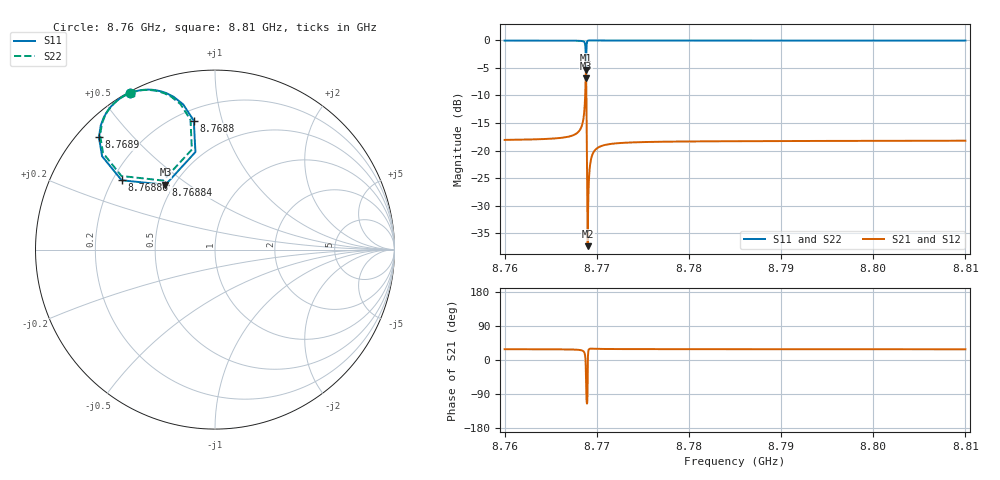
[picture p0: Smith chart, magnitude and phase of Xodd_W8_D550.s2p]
! Sonnet Data File
! From: emgraph Version : 16.52
! From Project: Qubit_Xmon2_brg
! Data is De-embedded
! Data File Written: 10/25/2017 15:28:40
!< HDATE 10/25/2017 13:50:25
!< MDATE 10/25/2017 13:50:25
!< PARAMS
!< Lj = 11.0
!< Gap = 6.0
!< Pwid = 2000.0
!< Airgap = 6.0
!< Width = 10.0
!< Bwid = 8.0
!< Dis1 = 550.0
!< Dis2 = 556.0
!< END PARAMS
# GHZ S MA R 34.70000
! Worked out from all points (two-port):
!   2501 points, 8.76 GHz to 8.81 GHz, reference 34.7 ohm
!   highest |S21| = -5.47 dB at 8.76884 GHz (marker M1); lowest = -37.3 dB at 8.76902 GHz (marker M2)
!   |S21| within 3 dB of the highest: 8.768772 GHz to 8.768866 GHz (93.46 kHz wide, 0.00107 % of centre)
!   lowest |S11| = -6.9 dB at 8.76884 GHz (marker M3), VSWR 2.67, Z = 15.7 + j14.3 ohm
!   |S11| at or under -10 dB: nowhere
!   |S22| runs from -6.4 to 0.0 dB; largest |S21 - S12| = 0
!   S11 on the Smith chart (normalised r, x): 8.76 GHz: 0.01, +0.60; 8.7688 GHz: 0.27, +0.81; 8.76884 GHz: 0.45, +0.41; 8.76886 GHz: 0.24, +0.31; 8.7689 GHz: 0.06, +0.40; 8.81 GHz: 0.01, +0.60
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8.76  0.9921 118.5  0.1251 28.5  0.1251 28.5  0.9921 118.5
!< P1 F=8.76 Eeff=(5.13726025 -5.6937e-5) Z0=(34.6466742 -9.6556e-5) R=0.0 C=0.0
!< P2 F=8.76 Eeff=(5.13726025 -5.6937e-5) Z0=(34.6466742 -9.6556e-5) R=0.0 C=0.0
8.7667  0.9911 118.0  0.1326 27.9  0.1326 27.9  0.9911 118.0
8.7678  0.9893 117.3  0.143 27.2  0.143 27.2  0.9894 117.4
8.76834  0.9848 116.0  0.1645 25.6  0.1645 25.6  0.9848 116.2
8.76854  0.977 114.4  0.1916 23.2  0.1916 23.2  0.9772 114.7
8.76866  0.9598 111.8  0.2347 19.1  0.2347 19.1  0.9604 112.2
8.76872  0.932 108.9  0.2841 13.8  0.2841 13.8  0.9334 109.4
8.7688  0.7279 99.3  0.4637 -11.5  0.4637 -11.5  0.7364 100.7
8.76884  0.4544 127.4  0.5325 -55.8  0.5325 -55.8  0.4808 126.9
8.76886  0.6481 143.4  0.4193 -81.6  0.4193 -81.6  0.663 141.8
8.7689  0.8995 136.0  0.1916 -108.7  0.1916 -108.7  0.9037 135.1
8.76902  0.988 125.3  0.01363 -23.4  0.01363 -23.4  0.9886 125.0
8.7691  0.9933 123.3  0.04235 25.5  0.04235 25.5  0.9936 123.1
8.76918  0.9947 122.2  0.06091 28.9  0.06091 28.9  0.9949 122.0
8.76934  0.9951 121.0  0.08062 29.9  0.08062 29.9  0.9952 120.9
8.76948  0.995 120.5  0.08985 29.8  0.08985 29.8  0.995 120.4
8.7702  0.994 119.4  0.1073 29.3  0.1073 29.3  0.994 119.4
8.77668  0.9927 118.6  0.1203 28.6  0.1203 28.6  0.9927 118.6
8.785  0.9926 118.5  0.1218 28.5  0.1218 28.5  0.9926 118.5
8.79334  0.9925 118.4  0.1224 28.4  0.1224 28.4  0.9925 118.4
8.80168  0.9924 118.3  0.1227 28.3  0.1227 28.3  0.9924 118.3
8.81  0.9924 118.3  0.123 28.3  0.123 28.3  0.9924 118.3
